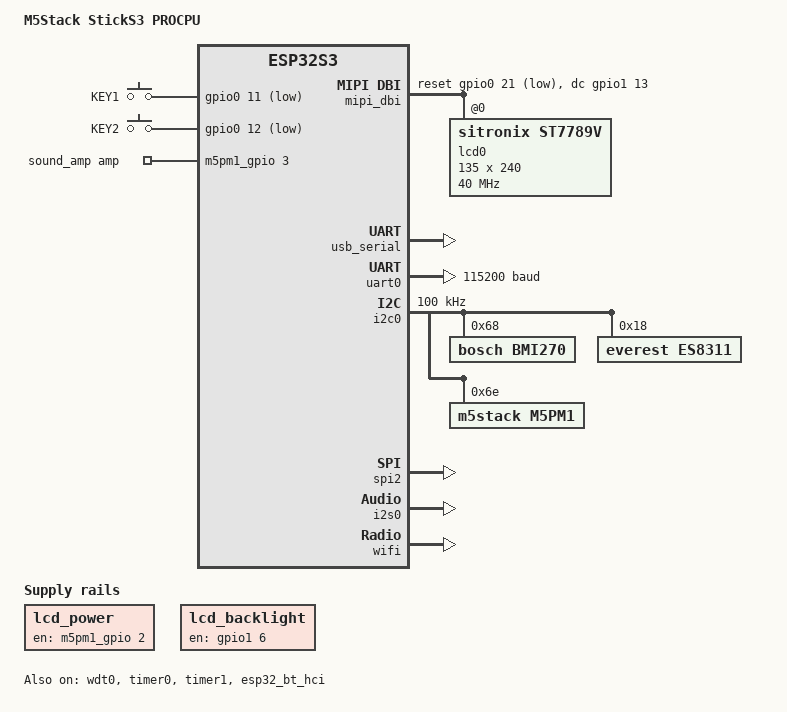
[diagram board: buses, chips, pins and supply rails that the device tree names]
/*
 * Copyright (c) 2026
 *
 * SPDX-License-Identifier: Apache-2.0
 *
 * M5Stack StickS3 (ESP32-S3-PICO-1-N8R8) board devicetree.
 * Pin map source: M5Stack official StickS3 PinMap. See
 * docs/00_RESEARCH_SNAPSHOT.md and docs/09_SOURCES.md.
 */
/dts-v1/;

#include <espressif/esp32s3/esp32s3_pico_n8r8.dtsi>
#include "m5stack_sticks3-pinctrl.dtsi"
#include <zephyr/dt-bindings/adc/adc.h>
#include <zephyr/dt-bindings/input/input-event-codes.h>
#include <espressif/partitions_0x0_amp.dtsi>

/ {
	model = "M5Stack StickS3 PROCPU";
	compatible = "m5stack,sticks3";

	chosen {
		zephyr,sram = &sram1;
		zephyr,console = &usb_serial;
		zephyr,shell-uart = &usb_serial;
		zephyr,flash = &flash0;
		zephyr,code-partition = &slot0_partition;
		zephyr,bt-hci = &esp32_bt_hci;
		zephyr,display = &lcd0;
	};

	aliases {
		sw0 = &button_key1;
		sw1 = &button_key2;
		imu0 = &bmi270;
		accel0 = &bmi270;
		watchdog0 = &wdt0;
		i2c-0 = &i2c0;
		adc-0 = &m5pm1_adc;
	};

	/*
	 * Two programmable buttons (hardware-verified 2026-05-30, facing the unit):
	 * MIDDLE button = KEY1 (G11), RIGHT button = KEY2 (G12). The LEFT button is
	 * the power key wired to the M5PM1 PMIC (not a host GPIO).
	 */
	gpio_keys {
		compatible = "gpio-keys";

		button_key1: button_0 {
			label = "KEY1"; /* middle button, G11 */
			gpios = <&gpio0 11 (GPIO_ACTIVE_LOW | GPIO_PULL_UP)>;
			zephyr,code = <INPUT_KEY_0>;
		};

		button_key2: button_1 {
			label = "KEY2"; /* right button, G12 */
			gpios = <&gpio0 12 (GPIO_ACTIVE_LOW | GPIO_PULL_UP)>;
			zephyr,code = <INPUT_KEY_1>;
		};
	};

	/*
	 * AW8737 speaker-amplifier enable. The amp shutdown pin is gated by the
	 * M5PM1 PMIC GPIO3 (PYG3): driving it high un-mutes the speaker path.
	 * Modeled as a plain (driver-less) node carrying an amp-gpios spec that
	 * app/src/audio.c reads via GPIO_DT_SPEC_GET. Deliberately NOT a gpio-leds
	 * / regulator node so nothing enables it at boot; audio.c configures it
	 * output-inactive and drives it high only for the duration of playback
	 * (anti-pop). The MFD gpio child performs masked register writes, so
	 * toggling pin 3 preserves the neighbouring L3B/LCD-rail bit on pin 2.
	 */
	sound_amp: sound-amp {
		compatible = "m5stack,sticks3-amp";
		status = "okay";
		amp-gpios = <&m5pm1_gpio 3 GPIO_ACTIVE_HIGH>;
	};

	/*
	 * LCD/peripheral power rail (L3B). The M5PM1 PMIC gates this domain via
	 * its GPIO2 (PYG2); driving it high powers the LCD/MIC/SPK domain. Modeled
	 * as a regulator-fixed switched by the MFD gpio child (m5pm1_gpio pin 2).
	 * regulator-boot-on enables it at init, before the display; the 100 ms
	 * startup-delay matches the vendor settle time (HW-003 power-before-init).
	 */
	lcd_power: lcd-l3b {
		compatible = "regulator-fixed";
		regulator-name = "lcd-l3b";
		enable-gpios = <&m5pm1_gpio 2 GPIO_ACTIVE_HIGH>;
		regulator-boot-on;
		startup-delay-us = <100000>;
	};

	/*
	 * LCD backlight enable. M5Stack PinMap: BL = G38 (gpio1 pin 6). The vendor
	 * stack drives this via LEDC PWM; for bring-up a fixed on/off switch is
	 * enough. The backlight only lights once the L3B rail (lcd_power) is on.
	 */
	lcd_backlight: lcd-backlight {
		compatible = "regulator-fixed";
		regulator-name = "lcd-backlight";
		enable-gpios = <&gpio1 6 GPIO_ACTIVE_HIGH>;
		regulator-boot-on;
	};

	/*
	 * ST7789P3 LCD on SPI2 via the MIPI-DBI SPI shim.
	 * M5Stack PinMap: MOSI G39, SCK G40 (pinctrl), CS G41, DC/RS G45, RST G21.
	 * Panel geometry/offsets/inversion from the vendor M5GFX StickS3 config.
	 */
	mipi_dbi: mipi-dbi {
		compatible = "zephyr,mipi-dbi-spi";
		spi-dev = <&spi2>;
		dc-gpios = <&gpio1 13 GPIO_ACTIVE_HIGH>;   /* G45 */
		reset-gpios = <&gpio0 21 GPIO_ACTIVE_LOW>; /* G21 */
		write-only;
		#address-cells = <1>;
		#size-cells = <0>;

		lcd0: st7789v@0 {
			compatible = "sitronix,st7789v";
			reg = <0>;
			mipi-max-frequency = <40000000>;
			mipi-mode = "MIPI_DBI_MODE_SPI_4WIRE";

			width = <135>;
			height = <240>;
			x-offset = <52>;
			y-offset = <40>;

			vcom = <0x19>;
			gctrl = <0x35>;
			vrhs = <0x12>;
			vdvs = <0x20>;
			mdac = <0x00>;
			gamma = <0x01>;
			colmod = <0x55>;
			lcm = <0x2c>;
			porch-param = [0c 0c 00 33 33];
			cmd2en-param = [5a 69 02 01];
			pwctrl1-param = [a4 a1];
			pvgam-param = [d0 04 0d 11 13 2b 3f 54 4c 18 0d 0b 1f 23];
			nvgam-param = [d0 04 0c 11 13 2c 3f 44 51 2f 1f 1f 20 23];
			ram-param = [00 e0];
			rgb-param = [40 02 14];
		};
	};
};

&usb_serial {
	status = "okay";
};

&uart0 {
	status = "okay";
	current-speed = <115200>;
	pinctrl-0 = <&uart0_default>;
	pinctrl-names = "default";
};

&i2c0 {
	status = "okay";
	clock-frequency = <I2C_BITRATE_STANDARD>;
	pinctrl-0 = <&i2c0_default>;
	pinctrl-names = "default";

	/* On-board 6-axis IMU. M5Stack PinMap: I2C address 0x68. */
	bmi270: bmi270@68 {
		compatible = "bosch,bmi270";
		reg = <0x68>;
		status = "okay";
	};

	/*
	 * ES8311 mono audio codec (I2C control @ 0x18, I2S audio data on i2s0).
	 * The binding requires only reg; the StickS3 has no discrete codec
	 * reset/enable line (the speaker amp is enabled separately via the
	 * sound_amp node), so no reset-/enable-gpios are added here. The driver
	 * (CONFIG_AUDIO_CODEC_ES8311) only compiles when CONFIG_AUDIO_CODEC is
	 * enabled (overlay-audio.conf), so this node is inert in the default
	 * build even though it is present.
	 */
	es8311: es8311@18 {
		compatible = "everest,es8311";
		reg = <0x18>;
		status = "okay";
	};

	/*
	 * M5PM1 PMIC (0x6e), modeled as a multi-function device (MFD) with a GPIO
	 * controller child and an ADC child, matching upstream Zephyr PR #109961.
	 *  - m5pm1_gpio: the 5 PYG GPIOs. PYG2 gates the LCD/peripheral L3B rail
	 *    (driven by the top-level lcd_power regulator-fixed).
	 *  - m5pm1_adc: power telemetry. Logical channel 1 = VBAT (battery mV).
	 */
	m5pm1: pmic@6e {
		compatible = "m5stack,m5pm1";
		reg = <0x6e>;
		status = "okay";

		m5pm1_gpio: gpio {
			compatible = "m5stack,m5pm1-gpio";
			gpio-controller;
			#gpio-cells = <2>;
			ngpios = <5>;
			status = "okay";
		};

		m5pm1_adc: adc {
			compatible = "m5stack,m5pm1-adc";
			#io-channel-cells = <1>;
			#address-cells = <1>;
			#size-cells = <0>;
			status = "okay";

			/* Channel 1 = VBAT (battery voltage, reported in mV). */
			channel@1 {
				reg = <1>;
				zephyr,gain = "ADC_GAIN_1";
				zephyr,reference = "ADC_REF_INTERNAL";
				zephyr,acquisition-time = <ADC_ACQ_TIME_DEFAULT>;
				zephyr,resolution = <12>;
			};
		};
	};
};

&spi2 {
	#address-cells = <1>;
	#size-cells = <0>;
	status = "okay";
	pinctrl-0 = <&spim2_default>;
	pinctrl-names = "default";
	cs-gpios = <&gpio1 9 GPIO_ACTIVE_LOW>; /* LCD CS = G41 */
};

/*
 * GDMA controller. The esp32-i2s driver hard-requires the GDMA node to be
 * status "okay" (it #errors otherwise) and the i2s0 node references its
 * channels via dmas = <&dma 2>,<&dma 3>. Enabling the controller node here is
 * inert for builds without CONFIG_DMA (the GDMA driver only compiles when
 * CONFIG_DMA=y, which the default build leaves off), so the default image is
 * unchanged; the audio overlay (overlay-audio.conf) turns CONFIG_DMA on.
 */
&dma {
	status = "okay";
};

/*
 * I2S0 carries audio data to/from the ES8311 codec. The SoC dtsi already
 * provides the GDMA channels (dmas/dma-names = "rx","tx"), which the
 * esp32-i2s driver requires; here we only enable the controller and bind the
 * pin group. Pins (M5Stack StickS3, hardware-verified): MCLK G18, BCLK G17,
 * WS/LRCK G15, DSDIN/DOUT (SoC->codec) G14, ASDOUT/DIN (codec->SoC) G16.
 */
&i2s0 {
	status = "okay";
	pinctrl-0 = <&i2s0_default>;
	pinctrl-names = "default";
};

&gpio0 {
	status = "okay";
};

&gpio1 {
	status = "okay";
};

&wdt0 {
	status = "okay";
};

&timer0 {
	status = "okay";
};

&timer1 {
	status = "okay";
};

&esp32_bt_hci {
	status = "okay";
};

&wifi {
	status = "okay";
};
